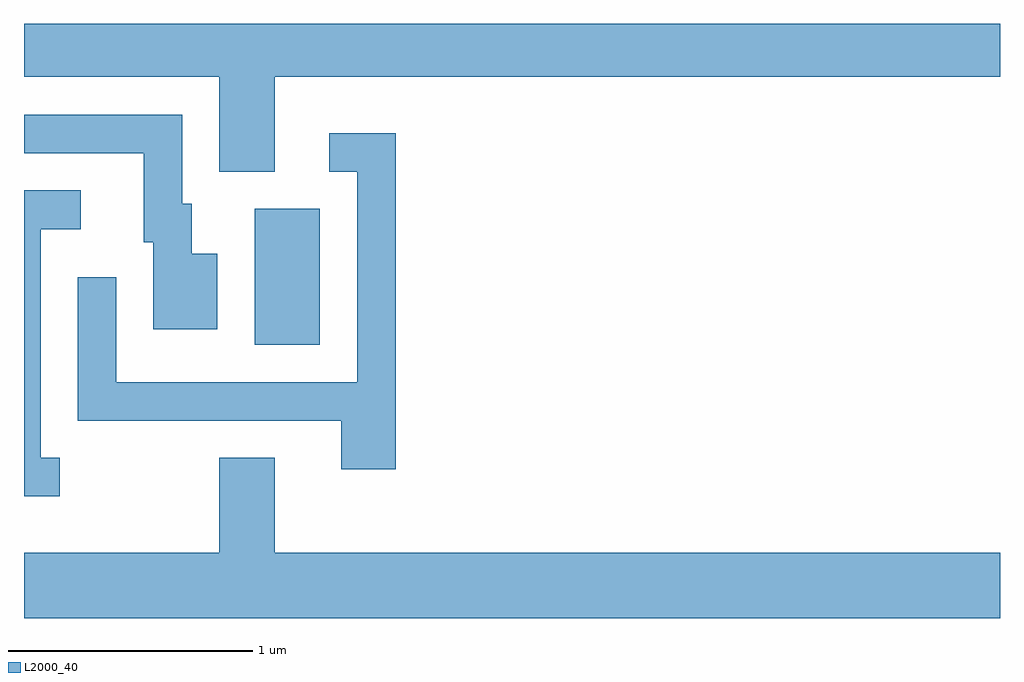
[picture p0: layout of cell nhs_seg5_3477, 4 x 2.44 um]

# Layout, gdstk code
import gdstk
lib = gdstk.Library(unit=1e-6, precision=1e-09)
def R(c, l, rs):  # rectangles x0, y0, x1, y1
    for r in rs: c.add(gdstk.rectangle(r[:2], r[2:], *l))
def P(c, l, *ps):  # polygons
    for p in ps: c.add(gdstk.Polygon(p, *l))
L2000_40 = (2000, 40)

nhs_seg5_3477 = lib.new_cell('nhs_seg5_3477')
R(nhs_seg5_3477, L2000_40, [(288.556,1506.756,288.824,1507.314)])
P(nhs_seg5_3477, L2000_40, [(288.639,1507.856),(291.611,1507.856),(291.611,1508.072),(287.611,1508.072),(287.611,1507.856),(288.411,1507.856),(288.411,1507.466),(288.639,1507.466)],
  [(288.404,1507.129),(288.299,1507.129),(288.299,1507.334),(288.259,1507.334),(288.259,1507.699),(287.611,1507.699),(287.611,1507.541),(288.101,1507.541),(288.101,1507.176),(288.141,1507.176),(288.141,1506.821),(288.404,1506.821)],
  [(289.134,1507.624),(288.863,1507.624),(288.863,1507.466),(288.976,1507.466),(288.976,1506.604),(287.989,1506.604),(287.989,1507.033),(287.831,1507.033),(287.831,1506.446),(288.911,1506.446),(288.911,1506.246),(289.134,1506.246)],
  [(287.758,1506.294),(287.679,1506.294),(287.679,1507.231),(287.843,1507.231),(287.843,1507.389),(287.611,1507.389),(287.611,1506.136),(287.758,1506.136)],
  [(291.611,1505.904),(288.639,1505.904),(288.639,1506.294),(288.411,1506.294),(288.411,1505.904),(287.611,1505.904),(287.611,1505.636),(291.611,1505.636)])

lib.write_gds('nhs_seg5_3477.gds')
